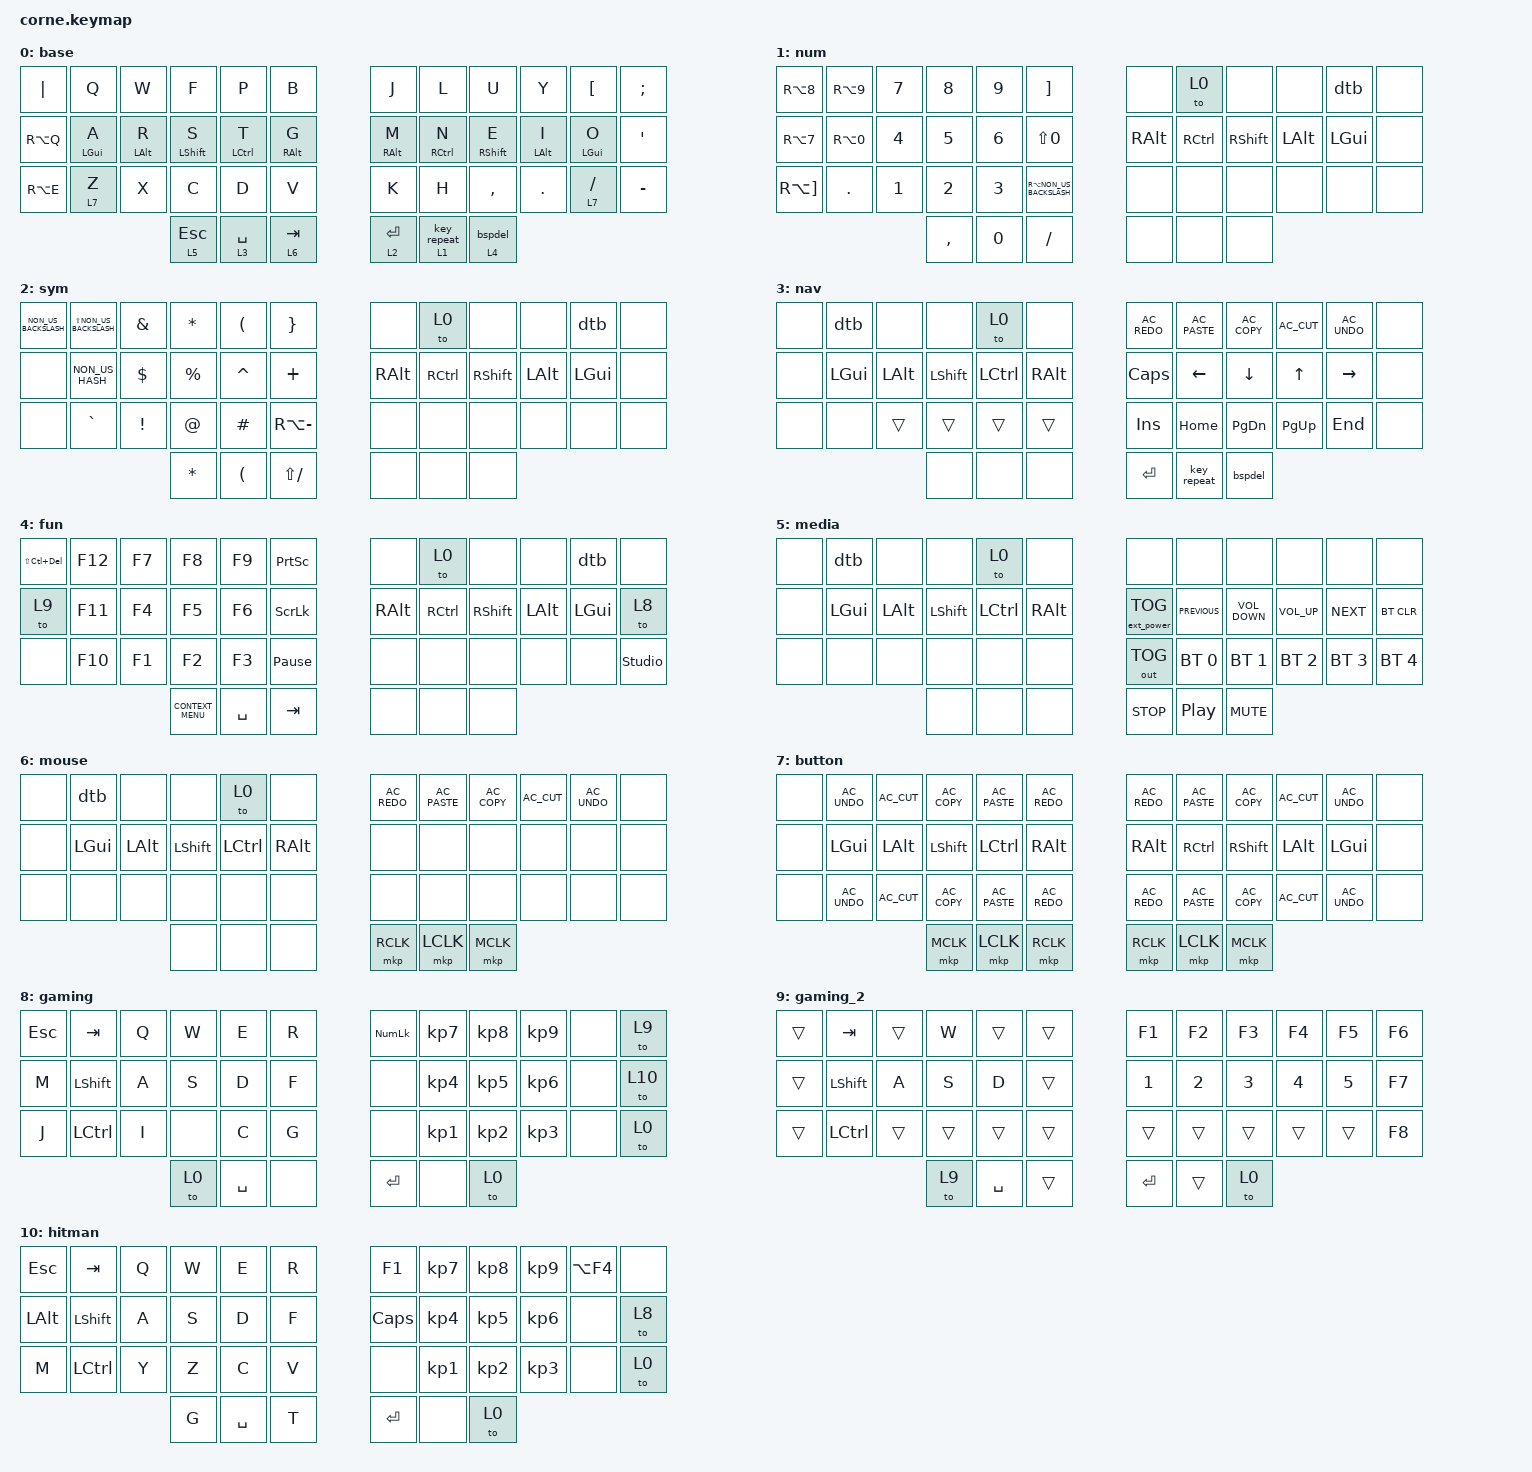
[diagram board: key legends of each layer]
/*
 * Copyright (c) 2020 The ZMK Contributors
 *
 * SPDX-License-Identifier: MIT
 */

#include <dt-bindings/zmk/mouse.h>
#include <behaviors.dtsi>
#include <dt-bindings/zmk/bt.h>
#include <dt-bindings/zmk/ext_power.h>
#include <dt-bindings/zmk/keys.h>
#include <dt-bindings/zmk/outputs.h>
#include <dt-bindings/zmk/pointing.h>

&nice_view_spi { cs-gpios = <&pro_micro 0 GPIO_ACTIVE_HIGH>; };

/ {
    behaviors {
        hml: homerow_mods_left {
            compatible = "zmk,behavior-hold-tap";
            label = "HOME_ROW_MODS_LEFT_HAND";
            bindings = <&kp>, <&kp>;

            #binding-cells = <2>;
            tapping-term-ms = <200>;
            hold-trigger-key-positions = <6 7 8 9 10 11 18 19 20 21 22 23 30 31 32 33 34 35 39 40 41>;
            flavor = "balanced";
            hold-trigger-on-release;
            require-prior-idle-ms = <75>;
        };

        hmr: homerow_mods_right {
            compatible = "zmk,behavior-hold-tap";
            label = "HOMEROW_MODS_RIGHT_HAND";
            bindings = <&kp>, <&kp>;

            #binding-cells = <2>;
            tapping-term-ms = <200>;
            hold-trigger-key-positions = <0 1 2 3 4 5 12 13 14 15 16 17 24 25 26 27 28 29 36 37 38>;
            flavor = "balanced";
            hold-trigger-on-release;
            require-prior-idle-ms = <75>;
        };

        bspdel: backspace_delete {
            compatible = "zmk,behavior-mod-morph";
            label = "BACKSPACE_DELETE";
            bindings = <&kp BACKSPACE>, <&kp DELETE>;

            #binding-cells = <0>;
            mods = <(MOD_LSFT|MOD_RSFT)>;
        };

        krlt: key_repeat_layer_tap {
            compatible = "zmk,behavior-hold-tap";
            label = "KEY_REPEAT_LAYER_TAP";
            bindings = <&mo>, <&key_repeat>;

            #binding-cells = <2>;
            tapping-term-ms = <200>;
            flavor = "tap-preferred";
        };

        dtb: double_tap_boot {
            compatible = "zmk,behavior-tap-dance";
            label = "DOUBLE_TAP_BOOT";
            #binding-cells = <0>;
            bindings = <&none>, <&bootloader>;
        };

        bspdellt: backspace_delete_layertap {
            compatible = "zmk,behavior-hold-tap";
            label = "BACKSPACE_DELETE_LAYERTAP";
            bindings = <&mo>, <&bspdel>;

            #binding-cells = <2>;
            tapping-term-ms = <200>;
            flavor = "tap-preferred";
        };
    };

    keymap {
        compatible = "zmk,keymap";

        base {
            // -----------------------------------------------------------------------------------------
            // |  TAB |  Q  |  W  |  E  |  R  |  T  |   |  Y  |  U   |  I  |  O  |  P  | BKSP |
            // | CTRL |  A  |  S  |  D  |  F  |  G  |   |  H  |  J   |  K  |  L  |  ;  |  '   |
            // | SHFT |  Z  |  X  |  C  |  V  |  B  |   |  N  |  M   |  ,  |  .  |  /  | ESC  |
            //                    | GUI | LWR | SPC |   | ENT | RSE  | ALT |

            bindings = <
&kp PIPE   &kp Q            &kp W            &kp F              &kp P                &kp B               &kp J             &kp L                 &kp U               &kp Y            &kp LBKT         &kp SEMI
&kp RA(Q)  &hml LEFT_GUI A  &hml LEFT_ALT R  &hml LEFT_SHIFT S  &hml LEFT_CONTROL T  &hml RIGHT_ALT G    &hmr RIGHT_ALT M  &hmr RIGHT_CONTROL N  &hmr RIGHT_SHIFT E  &hmr LEFT_ALT I  &hmr LEFT_GUI O  &kp APOS
&kp RA(E)  &lt 7 Z          &kp X            &kp C              &kp D                &kp V               &kp K             &kp H                 &kp COMMA           &kp DOT          &lt 7 SLASH      &kp MINUS
                                             &lt 5 ESCAPE       &lt 3 SPACE          &lt 6 TAB           &lt 2 ENTER       &krlt 1 0             &bspdellt 4 0
            >;
        };

        num {
            // -----------------------------------------------------------------------------------------
            // |  TAB |  1  |  2  |  3  |  4  |  5  |   |  6  |  7  |  8  |  9  |  0  | BKSP |
            // | BTCLR| BT1 | BT2 | BT3 | BT4 | BT5 |   | LFT | DWN |  UP | RGT |     |      |
            // | SHFT |     |     |     |     |     |   |     |     |     |     |     |      |
            //                    | GUI |     | SPC |   | ENT |     | ALT |

            bindings = <
&kp RA(N8)             &kp RA(N9)  &kp N7  &kp N8     &kp N9  &kp RBKT                    &none          &to 0              &none            &none         &dtb          &none
&kp RA(N7)             &kp RA(N0)  &kp N4  &kp N5     &kp N6  &kp LS(N0)                  &kp RIGHT_ALT  &kp RIGHT_CONTROL  &kp RIGHT_SHIFT  &kp LEFT_ALT  &kp LEFT_GUI  &none
&kp RA(RIGHT_BRACKET)  &kp DOT     &kp N1  &kp N2     &kp N3  &kp RA(NON_US_BACKSLASH)    &none          &none              &none            &none         &none         &none
                                           &kp COMMA  &kp N0  &kp SLASH                   &none          &none              &none
            >;
        };

        sym {
            // -----------------------------------------------------------------------------------------
            // |  TAB |  !  |  @  |  #  |  $  |  %  |   |  ^  |  &  |  *  |  (  |  )  | BKSP |
            // | CTRL |     |     |     |     |     |   |  -  |  =  |  [  |  ]  |  \  |  `   |
            // | SHFT |     |     |     |     |     |   |  _  |  +  |  {  |  }  | "|" |  ~   |
            //                    | GUI |     | SPC |   | ENT |     | ALT |

            bindings = <
&kp NON_US_BACKSLASH  &kp LS(NON_US_BACKSLASH)  &kp AMPERSAND    &kp ASTERISK  &kp LEFT_PARENTHESIS  &kp RIGHT_BRACE    &none          &to 0              &none            &none         &dtb          &none
&none                 &kp NON_US_HASH           &kp DOLLAR       &kp PERCENT   &kp CARET             &kp PLUS           &kp RIGHT_ALT  &kp RIGHT_CONTROL  &kp RIGHT_SHIFT  &kp LEFT_ALT  &kp LEFT_GUI  &none
&none                 &kp GRAVE                 &kp EXCLAMATION  &kp AT_SIGN   &kp HASH              &kp RA(MINUS)      &none          &none              &none            &none         &none         &none
                                                                 &kp ASTERISK  &kp LEFT_PARENTHESIS  &kp LS(SLASH)      &none          &none              &none
            >;
        };

        nav {
            bindings = <
&none  &dtb          &none         &none           &to 0             &none            &kp C_AC_REDO  &kp C_AC_PASTE  &kp C_AC_COPY   &kp C_AC_CUT  &kp C_AC_UNDO  &none
&none  &kp LEFT_GUI  &kp LEFT_ALT  &kp LEFT_SHIFT  &kp LEFT_CONTROL  &kp RIGHT_ALT    &kp CAPSLOCK   &kp LEFT_ARROW  &kp DOWN_ARROW  &kp UP_ARROW  &kp RIGHT      &none
&none  &none         &trans        &trans          &trans            &trans           &kp INSERT     &kp HOME        &kp PAGE_DOWN   &kp PAGE_UP   &kp END        &none
                                   &none           &none             &none            &kp ENTER      &key_repeat     &bspdel
            >;
        };

        fun {
            bindings = <
&kp LS(LC(DELETE))  &kp F12  &kp F7  &kp F8              &kp F9     &kp PRINTSCREEN    &none     &to 0      &none      &none         &dtb          &none
&to 9               &kp F11  &kp F4  &kp F5              &kp F6     &kp SCROLLLOCK     &kp RALT  &kp RCTRL  &kp RSHFT  &kp LEFT_ALT  &kp LEFT_GUI  &to 8
&none               &kp F10  &kp F1  &kp F2              &kp F3     &kp PAUSE_BREAK    &none     &none      &none      &none         &none         &studio_unlock
                                     &kp K_CONTEXT_MENU  &kp SPACE  &kp TAB            &none     &none      &none
            >;
        };

        media {
            bindings = <
&none  &dtb          &none         &none           &to 0             &none            &none              &none             &none              &none            &none         &none
&none  &kp LEFT_GUI  &kp LEFT_ALT  &kp LEFT_SHIFT  &kp LEFT_CONTROL  &kp RIGHT_ALT    &ext_power EP_TOG  &kp C_PREVIOUS    &kp C_VOLUME_DOWN  &kp C_VOLUME_UP  &kp C_NEXT    &bt BT_CLR
&none  &none         &none         &none           &none             &none            &out OUT_TOG       &bt BT_SEL 0      &bt BT_SEL 1       &bt BT_SEL 2     &bt BT_SEL 3  &bt BT_SEL 4
                                   &none           &none             &none            &kp C_STOP         &kp C_PLAY_PAUSE  &kp C_MUTE
            >;
        };

        mouse {
            bindings = <
&none  &dtb          &none         &none           &to 0             &none            &kp C_AC_REDO  &kp C_AC_PASTE  &kp C_AC_COPY  &kp C_AC_CUT  &kp C_AC_UNDO  &none
&none  &kp LEFT_GUI  &kp LEFT_ALT  &kp LEFT_SHIFT  &kp LEFT_CONTROL  &kp RIGHT_ALT    &none          &none           &none          &none         &none          &none
&none  &none         &none         &none           &none             &none            &none          &none           &none          &none         &none          &none
                                   &none           &none             &none            &mkp RCLK      &mkp LCLK       &mkp MCLK
            >;
        };

        button {
            bindings = <
&none  &kp C_AC_UNDO  &kp C_AC_CUT  &kp C_AC_COPY   &kp C_AC_PASTE    &kp C_AC_REDO    &kp C_AC_REDO  &kp C_AC_PASTE     &kp C_AC_COPY    &kp C_AC_CUT  &kp C_AC_UNDO  &none
&none  &kp LEFT_GUI   &kp LEFT_ALT  &kp LEFT_SHIFT  &kp LEFT_CONTROL  &kp RIGHT_ALT    &kp RIGHT_ALT  &kp RIGHT_CONTROL  &kp RIGHT_SHIFT  &kp LEFT_ALT  &kp LEFT_GUI   &none
&none  &kp C_AC_UNDO  &kp C_AC_CUT  &kp C_AC_COPY   &kp C_AC_PASTE    &kp C_AC_REDO    &kp C_AC_REDO  &kp C_AC_PASTE     &kp C_AC_COPY    &kp C_AC_CUT  &kp C_AC_UNDO  &none
                                    &mkp MCLK       &mkp LCLK         &mkp RCLK        &mkp RCLK      &mkp LCLK          &mkp MCLK
            >;
        };

        gaming {
            bindings = <
&kp ESCAPE  &kp TAB           &kp Q  &kp W  &kp E      &kp R    &kp KP_NUMLOCK  &kp KP_NUMBER_7  &kp KP_NUMBER_8  &kp KP_NUMBER_9  &none  &to 9
&kp M       &kp LEFT_SHIFT    &kp A  &kp S  &kp D      &kp F    &none           &kp KP_NUMBER_4  &kp KP_NUMBER_5  &kp KP_NUMBER_6  &none  &to 10
&kp J       &kp LEFT_CONTROL  &kp I  &none  &kp C      &kp G    &none           &kp KP_NUMBER_1  &kp KP_NUMBER_2  &kp KP_NUMBER_3  &none  &to 0
                                     &to 0  &kp SPACE  &none    &kp ENTER       &none            &to 0
            >;
        };

        gaming_2 {
            bindings = <
&trans  &kp TAB    &trans  &kp W   &trans     &trans    &kp F1     &kp F2  &kp F3  &kp F4  &kp F5  &kp F6
&trans  &kp LSHFT  &kp A   &kp S   &kp D      &trans    &kp N1     &kp N2  &kp N3  &kp N4  &kp N5  &kp F7
&trans  &kp LCTRL  &trans  &trans  &trans     &trans    &trans     &trans  &trans  &trans  &trans  &kp F8
                           &to 9   &kp SPACE  &trans    &kp ENTER  &trans  &to 0
            >;
        };

        hitman {
            bindings = <
&kp ESCAPE    &kp TAB           &kp Q  &kp W  &kp E      &kp R    &kp F1        &kp KP_NUMBER_7  &kp KP_NUMBER_8  &kp KP_NUMBER_9  &kp LA(F4)  &none
&kp LEFT_ALT  &kp LEFT_SHIFT    &kp A  &kp S  &kp D      &kp F    &kp CAPSLOCK  &kp KP_NUMBER_4  &kp KP_NUMBER_5  &kp KP_NUMBER_6  &none       &to 8
&kp M         &kp LEFT_CONTROL  &kp Y  &kp Z  &kp C      &kp V    &none         &kp KP_NUMBER_1  &kp KP_NUMBER_2  &kp KP_NUMBER_3  &none       &to 0
                                       &kp G  &kp SPACE  &kp T    &kp ENTER     &none            &to 0
            >;
        };
    };

    conditional_layers { compatible = "zmk,conditional-layers"; };
};
